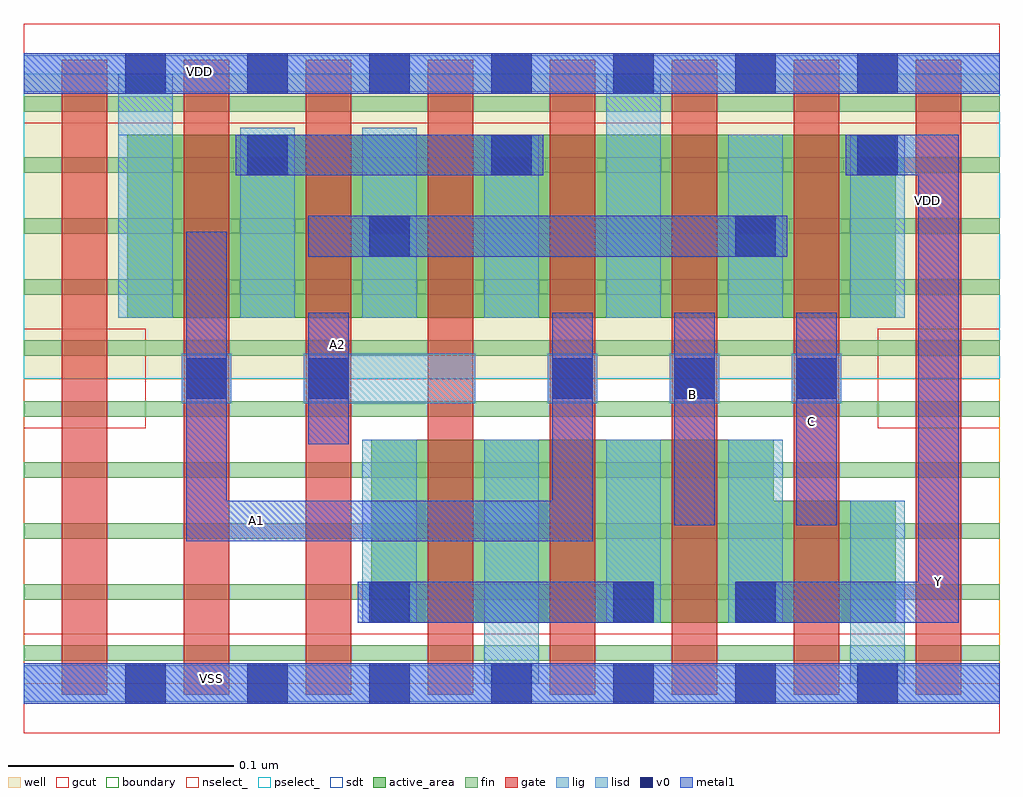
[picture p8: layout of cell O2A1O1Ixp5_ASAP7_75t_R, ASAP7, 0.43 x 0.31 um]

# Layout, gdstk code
import gdstk
lib = gdstk.Library(unit=1e-6, precision=1e-09)
def R(c, l, rs):  # rectangles x0, y0, x1, y1
    for r in rs: c.add(gdstk.rectangle(r[:2], r[2:], *l))
def A(c, l, x, y, w, h, nx, ny, dx, dy):  # array of equal rectangles
    R(c, l, [(x+i*dx, y+j*dy, x+i*dx+w, y+j*dy+h) for i in range(nx) for j in range(ny)])
def P(c, l, *ps):  # polygons
    for p in ps: c.add(gdstk.Polygon(p, *l))
well = (1, 0)
fin = (2, 0)
gate = (7, 0)
gcut = (10, 0)
active_area = (11, 0)
nselect_ = (12, 0)
pselect_ = (13, 0)
lig = (16, 0)
lisd = (17, 0)
v0 = (18, 0)
metal1 = (19, 0)
sdt = (88, 0)
boundary = (100, 0)

o2a1o1ixp5_asap7_75t_r = lib.new_cell('O2A1O1Ixp5_ASAP7_75t_R')
R(o2a1o1ixp5_asap7_75t_r, well, [(0,0.135,0.432,0.27)])
A(o2a1o1ixp5_asap7_75t_r, fin, 0, 0.01, 0.432, 0.007, 1, 10, 0, 0.027)
A(o2a1o1ixp5_asap7_75t_r, gate, 0.017, -0.005, 0.02, 0.281, 8, 1, 0.054, 0)
R(o2a1o1ixp5_asap7_75t_r, gcut, [(0,-0.022,0.432,0.022), (0,0.113,0.054,0.157), (0.378,0.113,0.432,0.157), (0,0.248,0.432,0.292)])
R(o2a1o1ixp5_asap7_75t_r, active_area, [(0.046,0.162,0.386,0.243)])
P(o2a1o1ixp5_asap7_75t_r, active_area, [(0.154,0.027),(0.154,0.108),(0.332,0.108),(0.332,0.081),(0.386,0.081),(0.386,0.027)])
R(o2a1o1ixp5_asap7_75t_r, nselect_, [(0,0,0.432,0.135)])
R(o2a1o1ixp5_asap7_75t_r, pselect_, [(0,0.135,0.432,0.27)])
A(o2a1o1ixp5_asap7_75t_r, lig, 0.232, 0.124, 0.022, 0.022, 3, 1, 0.054, 0)
R(o2a1o1ixp5_asap7_75t_r, lig, [(0,-0.008,0.432,0.008), (0.07,0.124,0.092,0.146), (0.124,0.124,0.2,0.146), (0,0.262,0.432,0.278)])
R(o2a1o1ixp5_asap7_75t_r, lisd, [(0.204,0,0.228,0.108), (0.366,0,0.39,0.081), (0.15,0.027,0.174,0.108), (0.258,0.027,0.282,0.108), (0.312,0.027,0.336,0.108), (0.042,0.162,0.066,0.27), (0.096,0.162,0.12,0.246), (0.15,0.162,0.174,0.246), (0.204,0.162,0.228,0.243), (0.258,0.162,0.282,0.27), (0.312,0.162,0.336,0.243), (0.366,0.162,0.39,0.243)])
A(o2a1o1ixp5_asap7_75t_r, v0, 0.045, -0.009, 0.018, 0.018, 7, 2, 0.054, 0.27)
A(o2a1o1ixp5_asap7_75t_r, v0, 0.234, 0.126, 0.018, 0.018, 3, 1, 0.054, 0)
R(o2a1o1ixp5_asap7_75t_r, v0, [(0.153,0.027,0.171,0.045), (0.261,0.027,0.279,0.045), (0.315,0.027,0.333,0.045), (0.072,0.126,0.09,0.144), (0.126,0.126,0.144,0.144), (0.153,0.189,0.171,0.207), (0.315,0.189,0.333,0.207), (0.099,0.225,0.117,0.243), (0.207,0.225,0.225,0.243), (0.369,0.225,0.387,0.243)])
R(o2a1o1ixp5_asap7_75t_r, metal1, [(0,-0.009,0.432,0.009), (0.148,0.027,0.279,0.045), (0.288,0.07,0.306,0.164), (0.342,0.07,0.36,0.164), (0.126,0.106,0.144,0.164), (0.126,0.189,0.338,0.207), (0.094,0.225,0.23,0.243), (0,0.261,0.432,0.279)])
P(o2a1o1ixp5_asap7_75t_r, metal1, [(0.315,0.027),(0.315,0.045),(0.396,0.045),(0.396,0.225),(0.364,0.225),(0.364,0.243),(0.414,0.243),(0.414,0.027)],
  [(0.072,0.063),(0.072,0.2),(0.09,0.2),(0.09,0.081),(0.234,0.081),(0.234,0.164),(0.252,0.164),(0.252,0.063)])
A(o2a1o1ixp5_asap7_75t_r, sdt, 0.15, 0.027, 0.024, 0.081, 4, 1, 0.054, 0)
A(o2a1o1ixp5_asap7_75t_r, sdt, 0.042, 0.162, 0.024, 0.081, 7, 1, 0.054, 0)
R(o2a1o1ixp5_asap7_75t_r, sdt, [(0.366,0.027,0.39,0.081)])
R(o2a1o1ixp5_asap7_75t_r, boundary, [(0,0,0.432,0.27)])
o2a1o1ixp5_asap7_75t_r.add(gdstk.Label('VSS', (0.083,0.002), layer=19, texttype=251))
o2a1o1ixp5_asap7_75t_r.add(gdstk.Label('Y', (0.405,0.045), layer=19, texttype=251))
o2a1o1ixp5_asap7_75t_r.add(gdstk.Label('C', (0.349,0.116), layer=19, texttype=251))
o2a1o1ixp5_asap7_75t_r.add(gdstk.Label('B', (0.296,0.128), layer=19, texttype=251))
o2a1o1ixp5_asap7_75t_r.add(gdstk.Label('A2', (0.139,0.15), layer=19, texttype=251))
o2a1o1ixp5_asap7_75t_r.add(gdstk.Label('A1', (0.103,0.072), layer=19, texttype=251))
o2a1o1ixp5_asap7_75t_r.add(gdstk.Label('VDD', (0.078,0.271), layer=19, texttype=251))
o2a1o1ixp5_asap7_75t_r.add(gdstk.Label('VDD', (0.4,0.214), layer=1, texttype=251))
o2a1o1ixp5_asap7_75t_r.add(gdstk.Label('VSS', (0.469,0.213), layer=3, texttype=251))

lib.write_gds('O2A1O1Ixp5_ASAP7_75t_R.gds')
